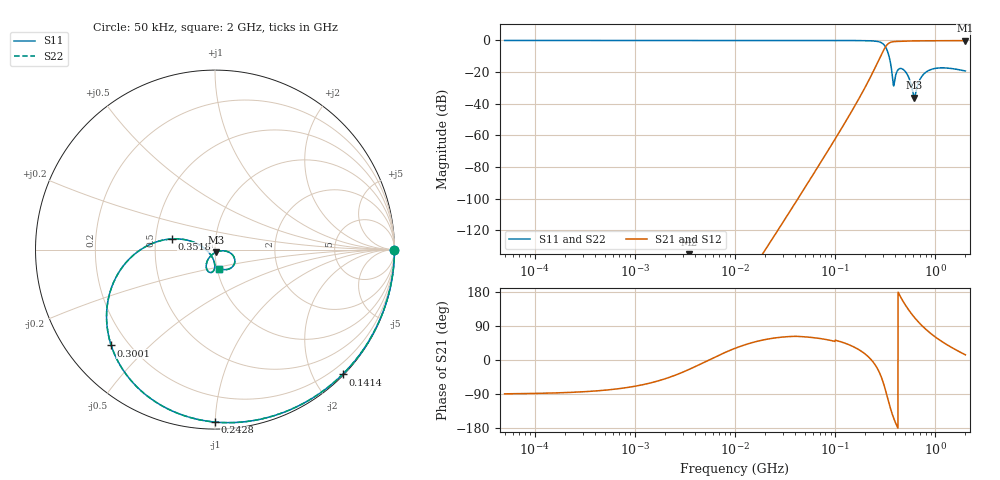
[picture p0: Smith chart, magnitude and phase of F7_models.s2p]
! Created with skrf 2.2.0 (http://scikit-rf.org).
# MHz S RI R 50.0
! Port[1] = P1
! Port[2] = P2
!freq ReS11 ImS11 ReS21 ImS21 ReS12 ImS12 ReS22 ImS22
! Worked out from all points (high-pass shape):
!   2001 points, 50 kHz to 2 GHz, reference 50 ohm
!   highest |S21| = -0.10 dB at 2 GHz (marker M1); lowest = -198.8 dB at 3.447 MHz (marker M2)
!   |S21| within 3 dB of the highest: 326.9 MHz to end of sweep
!   lowest |S11| = -36.0 dB at 616.9 MHz (marker M3), VSWR 1.03, Z = 50.6 - j1.48 ohm
!   |S11| at or under -10 dB: 345.4 MHz to end of sweep
!   |S22| runs from -36.0 to 0.0 dB; largest |S21 - S12| = 8.5e-16
!   S11 on the Smith chart (normalised r, x): 50 kHz: open; 141.4 MHz: 0.02, -2.45; 242.8 MHz: 0.04, -1.00; 300.1 MHz: 0.14, -0.38; 351.8 MHz: 0.61, +0.08; 2 GHz: 1.03, -0.22
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0.05  1 -0.000258  3.19e-18 -2.45e-16  3.19e-18 -2.45e-16  1 -0.000258
0.2934364  1 -0.00151  5.13e-15 -4.94e-14  5.13e-15 -4.94e-14  1 -0.00151
1.712999  0.9999 -0.00883  6.23e-12 -8.92e-12  6.23e-12 -8.92e-12  0.9999 -0.00883
3.44741  0.9998 -0.0178  1.03e-10 -4.88e-11  1.03e-10 -4.88e-11  0.9998 -0.0178
10  0.9986 -0.0515  7.67e-09 4.57e-09  7.67e-09 4.57e-09  0.9986 -0.0515
58.68728  0.9526 -0.3003  2.58e-05 4.36e-05  2.58e-05 4.36e-05  0.9526 -0.3003
69.90013  0.9326 -0.3566  6.7e-05 0.000103  6.7e-05 0.000103  0.9326 -0.3566
141.4214  0.7106 -0.6954  0.00373 0.00301  0.00373 0.00301  0.7106 -0.6954
192.298  0.4286 -0.8879  0.0253 0.00872  0.0253 0.00872  0.4286 -0.8879
242.784  0.00103 -0.9609  0.1107 -0.0143  0.1107 -0.0143  0.00103 -0.9609
272.799  -0.3293 -0.8498  0.2101 -0.1187  0.2101 -0.1187  -0.3293 -0.8498
300.0967  -0.5784 -0.5338  0.2458 -0.3774  0.2458 -0.3774  -0.5784 -0.5338
342.5997  -0.3461 0.0357  -0.2896 -0.7562  -0.2896 -0.7562  -0.3461 0.0357
351.797  -0.2408 0.0595  -0.4508 -0.724  -0.4508 -0.724  -0.2408 0.0595
384.9547  -0.0263 -0.0257  -0.8247 -0.4034  -0.8247 -0.4034  -0.0263 -0.0257
430.2603  -0.0119 -0.1225  -0.9335 0.0566  -0.9335 0.0566  -0.0119 -0.1225
512.4663  -0.0484 -0.0829  -0.75 0.5912  -0.75 0.5912  -0.0484 -0.0829
616.8809  0.00573 -0.0147  -0.3772 0.8933  -0.3772 0.8933  0.00573 -0.0147
730.8602  0.0709 -0.0116  -0.0259 0.974  -0.0259 0.974  0.0709 -0.0116
879.7724  0.1072 -0.0452  0.2974 0.9292  0.2974 0.9292  0.1072 -0.0452
1295.226  0.0846 -0.1049  0.7399 0.6436  0.7399 0.6436  0.0846 -0.1049
2000  0.024 -0.1055  0.9601 0.2338  0.9601 0.2338  0.024 -0.1055
